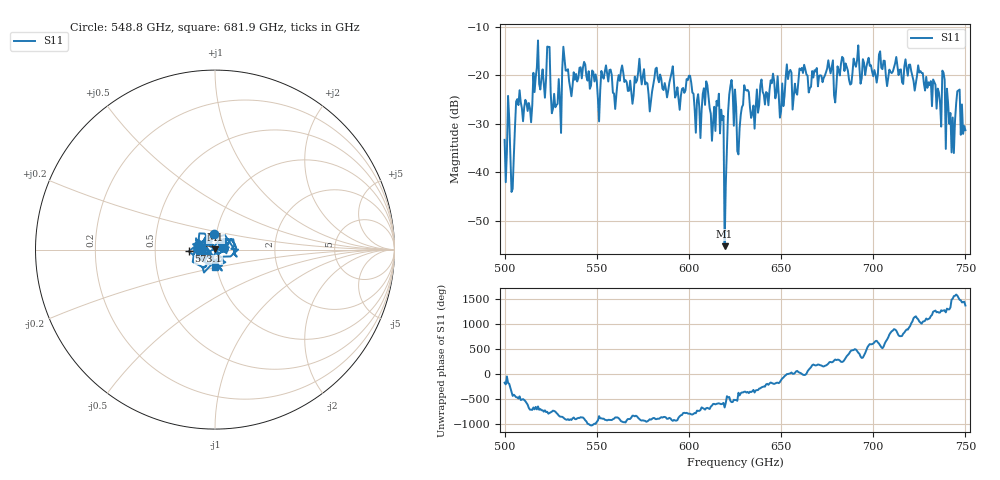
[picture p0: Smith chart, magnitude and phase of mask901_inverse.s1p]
!Created with skrf (http://scikit-rf.org).
# GHz S MA R 50.0
!freq magS11 angS11
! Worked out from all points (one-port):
!   401 points, 500 GHz to 750 GHz, reference 50 ohm
!   lowest |S11| = -55.3 dB at 619.4 GHz (marker M1), VSWR 1.00, Z = 50.1 + j0.143 ohm
!   |S11| at or under -10 dB: start of sweep to end of sweep
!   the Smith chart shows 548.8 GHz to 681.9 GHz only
!   S11 on the Smith chart (normalised r, x): 548.8 GHz: 0.98, +0.17; 573.1 GHz: 0.74, -0.01; 681.9 GHz: 0.98, -0.20
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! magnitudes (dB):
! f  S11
! 500 GHz  -33.4
! 504.4 GHz  -43.5
! 507.5 GHz  -26.2
! 513.8 GHz  -26.8
! 516.9 GHz  -20.5
! 523.8 GHz  -14.2
! 526.9 GHz  -23.9
! 531.2 GHz  -18.8
! 548.8 GHz  -21.3
! 562.5 GHz  -21.2
! 573.1 GHz  -16.6
! 593.8 GHz  -22.5
! 600 GHz  -20.1
! 605 GHz  -23.9
! 608.8 GHz  -26.2
! 616.2 GHz  -23.9
! 619.4 GHz  -55.3
! 620.6 GHz  -35.0
! 622.5 GHz  -22.3
! 625 GHz  -23.0
! 656.2 GHz  -27.1
! 681.9 GHz  -20.1
! 687.5 GHz  -22.0
! 718.8 GHz  -20.1
! 738.8 GHz  -21.0
! 742.5 GHz  -36.0
! 745.6 GHz  -23.3
! 750 GHz  -31.4
